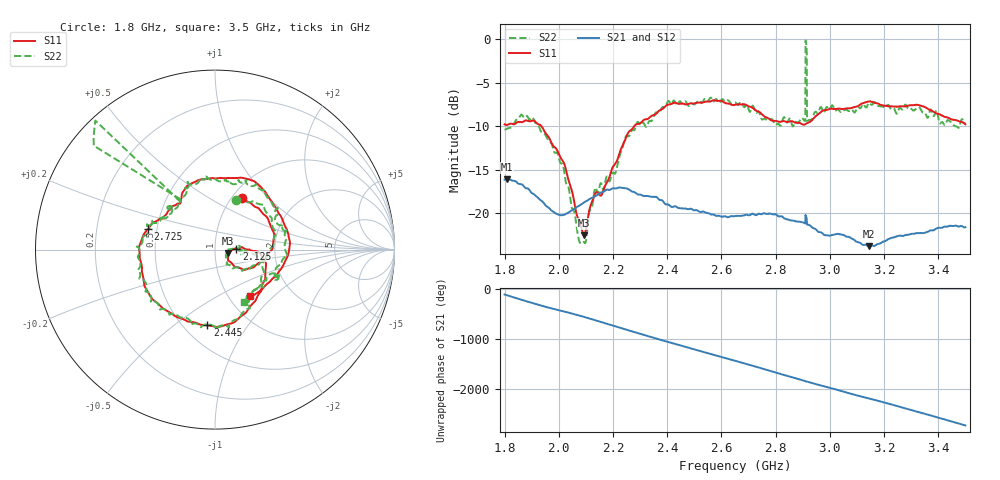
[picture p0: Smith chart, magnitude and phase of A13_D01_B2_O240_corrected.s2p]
! Created with skrf 1.9.0 (http://scikit-rf.org).
# Hz S RI R 50.0
!freq ReS11 ImS11 ReS21 ImS21 ReS12 ImS12 ReS22 ImS22
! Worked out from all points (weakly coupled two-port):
!   1601 points, 1.8 GHz to 3.5 GHz, reference 50 ohm
!   highest |S21| = -16.10 dB at 1.81 GHz (marker M1); lowest = -23.8 dB at 3.144 GHz (marker M2)
!   lowest |S11| = -22.5 dB at 2.093 GHz (marker M3), VSWR 1.16, Z = 57.7 - j2.39 ohm
!   |S11| at or under -10 dB: 1.936 GHz to 2.278 GHz (342.5 MHz wide, 16.3 % of centre)
!   |S22| runs from -23.5 to -0.2 dB; largest |S21 - S12| = 0.0031
!   S11 on the Smith chart (normalised r, x): 1.8 GHz: 1.12, +0.71; 2.125 GHz: 1.27, +0.02; 2.445 GHz: 0.65, -0.67; 2.725 GHz: 0.45, +0.12; 3.5 GHz: 1.25, -0.72
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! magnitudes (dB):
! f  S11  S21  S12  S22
! 1.8 GHz  -9.8  -16.1  -16.1  -10.4
! 1.81 GHz  -9.9  -16.1  -16.1  -10.3
! 1.901 GHz  -9.4  -17.7  -17.6  -9.0
! 1.968 GHz  -11.6  -19.5  -19.6  -11.8
! 2.015 GHz  -14.0  -20.2  -20.2  -14.4
! 2.084 GHz  -21.8  -19.0  -18.9  -23.4
! 2.093 GHz  -22.5  -18.7  -18.8  -23.3
! 2.125 GHz  -18.5  -18.2  -18.2  -18.8
! 2.259 GHz  -10.6  -17.3  -17.3  -11.1
! 2.367 GHz  -8.3  -18.3  -18.3  -8.5
! 2.445 GHz  -7.4  -19.4  -19.4  -7.2
! 2.65 GHz  -7.6  -20.3  -20.3  -7.3
! 2.725 GHz  -8.2  -20.2  -20.2  -8.4
! 2.867 GHz  -9.5  -20.8  -20.9  -9.9
! 2.901 GHz  -9.8  -21.0  -21.0  -9.2
! 2.906 GHz  -9.8  -21.1  -21.1  -9.4
! 2.919 GHz  -9.6  -21.3  -21.3  -9.4
! 2.924 GHz  -9.5  -21.4  -21.3  -9.3
! 2.934 GHz  -9.3  -21.6  -21.6  -9.2
! 3.144 GHz  -7.2  -23.8  -23.7  -7.3
! 3.217 GHz  -7.7  -22.9  -22.9  -7.6
! 3.5 GHz  -9.8  -21.6  -21.6  -9.6
